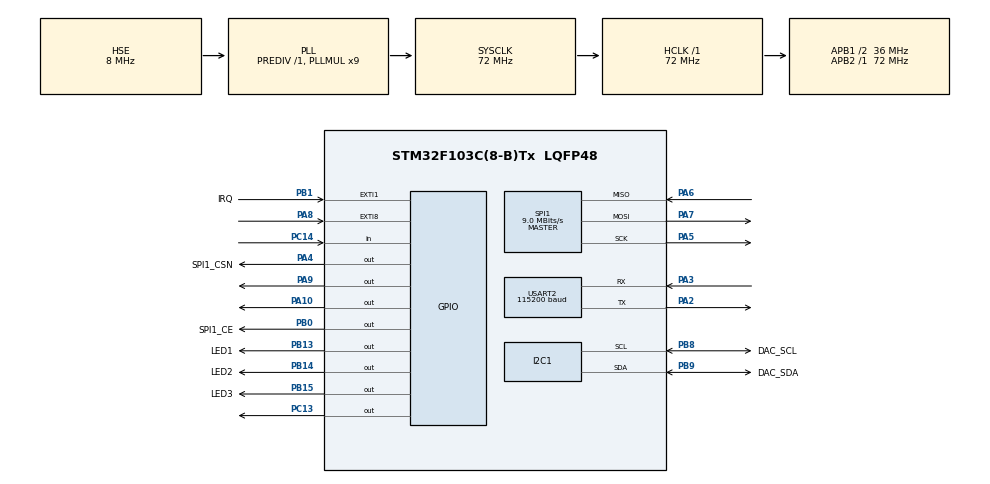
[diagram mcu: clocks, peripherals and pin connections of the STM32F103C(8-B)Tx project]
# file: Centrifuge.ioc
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I2C1.OwnAddress=0
Mcu.Family=STM32F1
Mcu.Name=STM32F103C(8-B)Tx
Mcu.Package=LQFP48
NVIC.EXTI1_IRQn=true\:0\:0\:false\:false\:true\:true\:true\:true
NVIC.EXTI9_5_IRQn=true\:0\:0\:false\:false\:true\:true\:true\:true
NVIC.I2C1_ER_IRQn=true\:0\:0\:false\:false\:true\:true\:true\:true
NVIC.I2C1_EV_IRQn=true\:0\:0\:false\:false\:true\:true\:true\:true
NVIC.PriorityGroup=NVIC_PRIORITYGROUP_4
NVIC.TIM2_IRQn=true\:0\:0\:false\:false\:true\:true\:true\:true
NVIC.USART2_IRQn=true\:0\:0\:false\:false\:true\:true\:true\:true
PA10.Signal=GPIO_Output
PA13.Mode=Serial_Wire
PA13.Signal=SYS_JTMS-SWDIO
PA14.Mode=Serial_Wire
PA14.Signal=SYS_JTCK-SWCLK
PA2.Mode=Asynchronous
PA2.Signal=USART2_TX
PA3.Mode=Asynchronous
PA3.Signal=USART2_RX
PA4.GPIO_Label=SPI1_CSN
PA4.GPIO_Speed=GPIO_SPEED_FREQ_HIGH
PA4.PinState=GPIO_PIN_SET
PA4.Signal=GPIO_Output
PA5.Mode=Full_Duplex_Master
PA5.Signal=SPI1_SCK
PA6.Mode=Full_Duplex_Master
PA6.Signal=SPI1_MISO
PA7.Mode=Full_Duplex_Master
PA7.Signal=SPI1_MOSI
PA8.GPIO_ModeDefaultEXTI=GPIO_MODE_IT_RISING_FALLING
PA8.GPIO_PuPd=GPIO_PULLDOWN
PA8.Signal=GPXTI8
PA9.Signal=GPIO_Output
PB0.GPIO_Label=SPI1_CE
PB0.GPIO_Speed=GPIO_SPEED_FREQ_HIGH
PB0.Signal=GPIO_Output
PB1.GPIO_Label=IRQ
PB1.GPIO_ModeDefaultEXTI=GPIO_MODE_IT_FALLING
PB1.Signal=GPXTI1
PB13.GPIO_Label=LED1
PB13.Signal=GPIO_Output
PB14.GPIO_Label=LED2
PB14.Signal=GPIO_Output
PB15.GPIO_Label=LED3
PB15.Signal=GPIO_Output
PB8.GPIO_Label=DAC_SCL
PB8.Mode=I2C
PB8.Signal=I2C1_SCL
PB9.GPIO_Label=DAC_SDA
PB9.Mode=I2C
PB9.Signal=I2C1_SDA
PC13-TAMPER-RTC.Signal=GPIO_Output
PC14-OSC32_IN.Signal=GPIO_Input
PD0-OSC_IN.Mode=HSE-External-Oscillator
PD0-OSC_IN.Signal=RCC_OSC_IN
PD1-OSC_OUT.Mode=HSE-External-Oscillator
PD1-OSC_OUT.Signal=RCC_OSC_OUT
ProjectManager.HeapSize=0x200
ProjectManager.StackSize=0x400
ProjectManager.TargetToolchain=STM32CubeIDE
RCC.AHBFreq_Value=72000000
RCC.APB1CLKDivider=RCC_HCLK_DIV2
RCC.APB1Freq_Value=36000000
RCC.APB1TimFreq_Value=72000000
RCC.APB2Freq_Value=72000000
RCC.APB2TimFreq_Value=72000000
RCC.HCLKFreq_Value=72000000
RCC.PLLMUL=RCC_PLL_MUL9
RCC.PLLSourceVirtual=RCC_PLLSOURCE_HSE
RCC.SYSCLKFreq_VALUE=72000000
RCC.SYSCLKSource=RCC_SYSCLKSOURCE_PLLCLK
RCC.USBFreq_Value=72000000
SPI1.BaudRatePrescaler=SPI_BAUDRATEPRESCALER_8
SPI1.CalculateBaudRate=9.0 MBits/s
SPI1.Direction=SPI_DIRECTION_2LINES
SPI1.Mode=SPI_MODE_MASTER
SPI1.VirtualType=VM_MASTER
TIM2.Period=999
TIM2.Prescaler=71
USART2.BaudRate=115200
USART2.VirtualMode=VM_ASYNC
VP_TIM2_VS_ClockSourceINT.Mode=Internal
board=custom

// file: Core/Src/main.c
/* USER CODE BEGIN Header */
/**
 ******************************************************************************
 * @file           : main.c
 * @brief          : Main program body
 ******************************************************************************
 * @attention
 *
 * Copyright (c) 2025 STMicroelectronics.
 * All rights reserved.
 *
 * This software is licensed under terms that can be found in the LICENSE file
 * in the root directory of this software component.
 * If no LICENSE file comes with this software, it is provided AS-IS.
 *
 ******************************************************************************
 */
/* USER CODE END Header */
#include "main.h"
#include "i2c.h"
#include "spi.h"
#include "tim.h"
#include "usart.h"
#include "gpio.h"

/* USER CODE BEGIN Includes */
#include <stdio.h>
#include <string.h>
#include <stdlib.h>
#include <math.h>
#include "MCP4725.h"
#include "nrf24l01p.h"
/* USER CODE END Includes */

/* USER CODE BEGIN PV */
#define MAX_POINTS 200
#define RX_BUFF_SIZE 500

#define integralCap 300
/*FF only, PID off*/
//#define kP 0
//#define kI 0
//#define kD 0

#define kP 0.05
#define kI 0.005
#define kD 0

uint8_t tx_buff[] = {0,1,2,3,4,5,6,7,8,9};
uint8_t rx_buff[RX_BUFF_SIZE] = {0};
uint8_t rx_buff_arm = 0;
uint8_t rx_data[NRF24L01P_PAYLOAD_LENGTH] = {0};
static char msg[120];

// imu datas
float accel_x = 0;
float accel_y = 0;
float accel_z = 0;
float temperature = 0;
float gyro_x = 0;
float gyro_y = 0;
float gyro_z = 0;
float current_g = 0;

float voltage_to_be_sent = 0;

// speed from motor
float avgRPM = 0;
float numPoints = 0;
volatile uint32_t counter = 0;
uint32_t previousCountMillis = 0;
const uint32_t countMillis = 100; // ms for sampling speed line
float rpm = 0;
float sum = 0;
float des_rpm = 0;
float post_gear_rpm = 0;

// PID controller
float voltage_pid = 0;
float lastError = 0;
float error = 0;
float integral = 0;
uint32_t currTime = 0;
uint32_t prevTime = 0;
uint32_t dt = 0;

// variables for PID
float current_omega = 0;

int ct = 0;
volatile uint32_t last_interrupt_time = 0;

bool braking = false;
bool dataNew = false;
volatile bool uart_ready = true;
bool inputState = false;
bool lastInputState = false;

uint8_t led = 0;
uint16_t ledTimer = 0;
uint16_t voltageSent = 0;
uint32_t time_start = 0;
uint32_t time_elapsed = 0;
uint32_t lastPrintTime = 0;
uint32_t printInterval = 100; // ms for every print

uint32_t profile_ms[MAX_POINTS] = {0};
float profile_g[MAX_POINTS] = {0};
int profile_arm = 0;

//i | idle
//p | has profile (ready)
//m | manual
//u | uploading mode (reading)
//o | on mode (running)
//e | evaluate (aka parsing)
char state = 'i';

int upload_pointer = 0;

// Live Expression Watching
int pa9_state = 0;
int pa10_state = 0;
uint16_t scaled_voltage = 0;
float slope_gps = 0;
float desired_g = 0;
float descent_no_brake = 0;
char recentChar = 'i';
/* USER CODE END PV */

void SystemClock_Config(void);
/* USER CODE BEGIN PFP */
uint8_t setValue(uint16_t value);
void HAL_GPIO_EXTI_Callback(uint16_t GPIO_Pin);
void collect_data();
void process_rx();
void check_radio_health();
/* USER CODE END PFP */

/* USER CODE BEGIN 0 */

// First, create an MCP4725 object:
MCP4725 myMCP4725;

volatile uint8_t rx_flag = 0;
/* USER CODE END 0 */

int main(void)
{

  /* MCU Configuration--------------------------------------------------------*/

  /* Reset of all peripherals, Initializes the Flash interface and the Systick. */
  HAL_Init();

  /* Configure the system clock */
  SystemClock_Config();

  /* Initialize all configured peripherals */
  MX_GPIO_Init();
  MX_USART2_UART_Init();
  MX_I2C1_Init();
  MX_SPI1_Init();
  MX_TIM2_Init();
  /* USER CODE BEGIN 2 */

	// begins listening for a byte. When byte is recieved, it calls the callback function
	HAL_UART_Receive_IT(&huart2, rx_buff, 1);

	HAL_TIM_Base_Start_IT(&htim2);
	// initialize radio
	nrf24l01p_rx_init(2500, _250kbps);

	// turn off auto acknowledgment
	uint8_t en_aa = read_register(NRF24L01P_REG_EN_AA);
	en_aa &= ~(1 << 0);
	write_register(NRF24L01P_REG_EN_AA, en_aa);

	// Second, initialize the MCP4725 object:
	myMCP4725 = MCP4725_init(&hi2c1, MCP4725A0_ADDR_A00, MCP4725_REFERENCE_VOLTAGE);

	// Check the connection:
	if(MCP4725_isConnected(&myMCP4725)){

		/* Print that the DAC is connected */
		uint8_t success_arr[] = {'D','A','C',' ','g','o','o','d','\n'};
		HAL_UART_Transmit_IT(&huart2, success_arr, 9);
	}
	else{

		/* Print that the DAC is NOT connected */
		uint8_t fail_arr[] = {'b','a','d','\n'};
		HAL_UART_Transmit_IT(&huart2, fail_arr, 4);
	}

	// default centrifuge off
	setValue(0);
	HAL_GPIO_WritePin(GPIOA, GPIO_PIN_10, GPIO_PIN_RESET); // Motor off
	HAL_GPIO_WritePin(GPIOA, GPIO_PIN_9, GPIO_PIN_RESET); //Brake on

	// set radio address
	// uint8_t radio_status = set_address("2Node");

  /* USER CODE END 2 */

  /* Infinite loop */
	while (1)
	{

    /* USER CODE BEGIN 3 */
		pa9_state = HAL_GPIO_ReadPin(GPIOA, GPIO_PIN_9); // 0 for brake on
		pa10_state = HAL_GPIO_ReadPin(GPIOA, GPIO_PIN_10); // 0 for motor off

		// initialize to 0, if still 0 after a loop that means radio is cooked
//		accel_x = 0;
//		accel_y = 0;
//		accel_z = 0;
//		gyro_x = 0;
//		gyro_y = 0;
//		gyro_z = 0;
		// rx interrupt triggered
//		if (rx_flag) {
//			process_rx();
//		}

		// check radio health every 50ms
//		static uint32_t radio_check_timer = 0;
//		radio_check_timer++;
//		if(radio_check_timer > 50) {
//			radio_check_timer = 0;
//			check_radio_health();
//		}

		currTime = HAL_GetTick();
		// pin setting is getting overriden by main due to ISR interrupting in random places
		if (state == 'i') {
			HAL_GPIO_WritePin(GPIOA, GPIO_PIN_10, GPIO_PIN_RESET); // Motor off
			HAL_GPIO_WritePin(GPIOA, GPIO_PIN_9, GPIO_PIN_RESET); //Brake on
			voltageSent = 0;
			setValue(voltageSent);
		}

		else if (state == 'm') {
			//measure voltage to rpm
			if ((HAL_GetTick() - previousCountMillis) >= countMillis) {
				previousCountMillis = HAL_GetTick();
				collect_data();
				float volts=0;
				volts = ((float)voltageSent / 4095) * 3.3;

				float omega = sqrt( (9.81 * sqrt(current_g*current_g - 1)) / 1.4);
				des_rpm = (omega /3.1415) * 30;
				post_gear_rpm = rpm / 25;
	//			// relate RPM to volts
				int len = snprintf(msg, sizeof(msg),
						"%.4f %.4f %.4f %.4f\n",
						volts, des_rpm, current_g, post_gear_rpm);
	//			// motor no brake descent rate
	////			uint8_t motor = HAL_GPIO_ReadPin(GPIOA, GPIO_PIN_10);
	////			int len = snprintf(msg, sizeof(msg),
	////					"%.2f %.2f %u\n",
	////					volts, current_g, motor);
				// Send over UART using interrupt
				HAL_UART_Transmit_IT(&huart2, (uint8_t*)msg, len);
			}
		}

//		// if imu shits itself (PID DIES)
//		if(dataNew){
//			dataNew = false;
//		}else {
//			HAL_GPIO_WritePin(GPIOA, GPIO_PIN_10, GPIO_PIN_RESET); // Motor off
//			HAL_GPIO_WritePin(GPIOA, GPIO_PIN_9, GPIO_PIN_RESET); //Brake on
//			state = 'i';
//		}

		// evaluation mode (parsing the profile)
		else if (state == 'e') {
//			dt = currTime - prevTime; // for PID
			int i = upload_pointer; // where the instruction starts in our rx_buffer
			char parseChar = *(rx_buff + i); // grab the first character our rx_buffer
			char numberBuffer[40] = {0}; // create a number buffer to atoi into our ms and g arrays
			int numberBufferArm = 0;     // keep track of the current index
			char evaluateState = 'm'; //m or g
			profile_arm = 0; // current step of the profile

			// our profile data is sandwiched between a start u and a stop u
			while(parseChar != 'u'){
				// parse the first column of the csv (ms)
				if(evaluateState == 'm'){
					// if its a number, store it into numberBuffer
					if((parseChar <= '9' && parseChar >= '0')){
					    if (numberBufferArm < 39) { // Leave room for null terminator if needed
					        numberBuffer[numberBufferArm++] = parseChar;
					    }
					}

					// if its a comma, flush it all to the ms array and switch to evaluating g
					else if(parseChar == ','){
						profile_ms[profile_arm] = atoi(numberBuffer);
						memset(numberBuffer, 0, 40);
						numberBufferArm = 0;
						evaluateState = 'g';
					}

					// parse the second column of the csv (g)
				}else if(evaluateState == 'g'){

					// if its a number, store it into numberBuffer
					if((parseChar <= '9' && parseChar >= '0') || parseChar == '.'){
						if (numberBufferArm < 39) { // Leave room for null terminator if needed
							 numberBuffer[numberBufferArm++] = parseChar;
						}
						// upon reaching a new line, flush everything in numberBuffer to g array and go back to m
					}else if(parseChar == '\n'){
						profile_g[profile_arm++] = atof(numberBuffer);
						memset(numberBuffer, 0, 40);
						numberBufferArm = 0;
						evaluateState = 'm';
					}
				}

				// increment our upload arm and make sure it wraps back to the start to grab the next char
				i++;
				i %= RX_BUFF_SIZE;
				parseChar = *(rx_buff + i);
			}

			// reset buffer for clean data
			memset(rx_buff, 0, 500);

			// reached stop "u" so switch to ready mode
			state = 'p';
		}

		// ON state (centrifuge will start spinning)
		else if(state == 'o') {
			time_elapsed = HAL_GetTick() - time_start;
			int index = 0;

			// increment the index of our profile if the elapsed time is greater than the desired runtime
			while(index < profile_arm) {
				if (profile_ms[index] <= time_elapsed) {
					index++;
				}
				else {
					break;
				}
			}

			// we've reached the end of our instructions, so turn everything off and go to idle mode
			if(index == profile_arm){
				state = 'i';
				HAL_GPIO_WritePin(GPIOA, GPIO_PIN_10, GPIO_PIN_RESET); // Motor off
				HAL_GPIO_WritePin(GPIOA, GPIO_PIN_9, GPIO_PIN_SET); //Brake off

				// run the current profile instruction step
			}else{
				float prev_desired_g = profile_g[index-1];
				float prev_desired_ms = profile_ms[index-1];
				float next_desired_g = profile_g[index];
				float next_desired_ms = profile_ms[index];

				// end case/error detection (next time should never be lower than prev)
				if (next_desired_ms < prev_desired_ms) {
					state = 'i';
					HAL_GPIO_WritePin(GPIOA, GPIO_PIN_10, GPIO_PIN_RESET); // Motor off
					HAL_GPIO_WritePin(GPIOA, GPIO_PIN_9, GPIO_PIN_RESET); //Brake on
				}

				// calculate descent slope for braking on sharp changes
				slope_gps = (next_desired_g - prev_desired_g) / ((next_desired_ms - prev_desired_ms) / 1000);
				desired_g = ((next_desired_g - prev_desired_g) * (time_elapsed - prev_desired_ms) / (next_desired_ms - prev_desired_ms)) + prev_desired_g;
				descent_no_brake = -0.312*desired_g + 0.278;

				braking = false;
				// only set braking if the slope is negative
				if (slope_gps < 0) {
					// brake when profile is too sharp (would be greater than natural descent of the motor)
					if(fabsf(slope_gps) > fabsf(descent_no_brake)) {
						braking = true;
					} else {
						braking = false;
					}
				}
				HAL_GPIO_WritePin(GPIOA, GPIO_PIN_10, GPIO_PIN_SET); // Motor on (for when it got turned off by brake mode last time)

				braking = false; // TEST INSERT TO TURN OFF BRAKE DESCENT
				// when brake mode on, brake if our desired_g is greater than our current_g
				if (braking) {
					HAL_GPIO_WritePin(GPIOA, GPIO_PIN_10, GPIO_PIN_RESET); // Motor off when in brake mode
					if (desired_g < current_g) {
						HAL_GPIO_WritePin(GPIOA, GPIO_PIN_9, GPIO_PIN_RESET); //Brake on
					}

					// let the motor coast to reduce speed instead
					else if(desired_g >= current_g) {
						HAL_GPIO_WritePin(GPIOA, GPIO_PIN_9, GPIO_PIN_SET); //Brake off
					}
					setValue(0);
				}

				// brake mode is off so use voltage to rpm equation to set speed of the centrifuge
				else {
					dt = currTime - prevTime;

					if (dt == 0) {
						dt = 1; // Safety clamp for extremely fast loop iterations
					}

					HAL_GPIO_WritePin(GPIOA, GPIO_PIN_10, GPIO_PIN_SET); // Motor on
					HAL_GPIO_WritePin(GPIOA, GPIO_PIN_9, GPIO_PIN_SET); //Brake off

					// clamp desired_g to 1
					if (desired_g < 1.0) {
					    desired_g = 1.0;
					}

					float a = 1.3; // centrifuge arm radius meters
					float L = 0.22; // hinge to imu radius meters
					float sin_theta = sqrt(desired_g * desired_g - 1.0) / desired_g;
					float r_total = a + L * sin_theta;
					float des_omega = sqrt((9.81 * sqrt(desired_g*desired_g - 1)) / r_total);
					des_rpm = (des_omega /3.1415) * 30;

					// feedforward from des_rpm
					float voltage_ff = (-0.000459) + (0.0283 * des_rpm) + (-0.000225* des_rpm * des_rpm) + (0.0000025* des_rpm * des_rpm* des_rpm);

					/* PID*/

					//clamp imu reading
					if (current_g < 1.0) {
						current_g = 1.0;
					}
					current_omega = sqrt((9.81f * sqrt((current_g * current_g) - 1.0f)) / r_total);
					float current_rpm = (current_omega / 3.1415f) * 30.0f;

					error = des_rpm - current_rpm;
					integral += (dt/1000.0f) * (error + lastError) / 2.0f;

					// cap integral in both directions
					if (integral > integralCap) {
					    integral = integralCap;
					} else if (integral < -integralCap) {
					    integral = -integralCap;
					}

					voltage_pid = kP * error + kI * integral + kD * (error - lastError) / (dt/1000.0);

					// combine pid with ff
					float voltage_to_be_sent = voltage_ff + voltage_pid;

					// vref is 3.3 but clamp to 3.0
					if (voltage_to_be_sent > 3.0f) {
					    voltage_to_be_sent = 3.0f;
					} else if (voltage_to_be_sent < 0.0f) {
					    voltage_to_be_sent = 0.0f;
					}

					scaled_voltage = (uint16_t)((voltage_to_be_sent / 3.3f) * 4095); // scale the voltage from 0-3.3 to 0-4095 to be sent though the DAC
					setValue(scaled_voltage);

				    lastError = error;
				    prevTime = currTime;
				}

				if (HAL_GetTick() - lastPrintTime >= printInterval) {
				    lastPrintTime = HAL_GetTick();
//				    uint8_t BRAKE = HAL_GPIO_ReadPin(GPIOA, GPIO_PIN_9);
//				    uint8_t MOTOR = HAL_GPIO_ReadPin(GPIOA, GPIO_PIN_10);
				    memset(msg, 0, sizeof(msg));  // clear garbage from buffer
//				    int len = snprintf(msg, sizeof(msg),
//				    		"Accel [g]: X=%.2f, Y=%.2f, Z=%.2f | "
//				    		"Gyro [°/s]: X=%.2f, Y=%.2f, Z=%.2f | "
//				    		"Temp=%.2f°C | g=%.2f\n",
//							accel_x, accel_y, accel_z,
//							gyro_x, gyro_y, gyro_z,
//							temperature, current_g);
				    collect_data(); // THIS ONLY WORKS AT 100ms I THINK
				    post_gear_rpm = rpm / 25;
				    int len = snprintf(msg, sizeof(msg),
				    		"%lu %.2f %.2f %.2f %.2f\n",
							time_elapsed, desired_g, current_g, post_gear_rpm, current_omega);
				    HAL_UART_Transmit_IT(&huart2, (uint8_t*)msg, len);
				}
			}
		}

		// LED loop to check board status
		ledTimer ++;
		if(ledTimer > 200){
			ledTimer = 0;
			led = !led;
			if(led){
				HAL_GPIO_WritePin(GPIOC, GPIO_PIN_13, GPIO_PIN_SET);
				HAL_GPIO_WritePin(GPIOB, GPIO_PIN_13, GPIO_PIN_SET);
				HAL_GPIO_WritePin(GPIOB, GPIO_PIN_15, GPIO_PIN_SET);
			}else{
				HAL_GPIO_WritePin(GPIOC, GPIO_PIN_13, GPIO_PIN_RESET);
				HAL_GPIO_WritePin(GPIOB, GPIO_PIN_13, GPIO_PIN_RESET);
				HAL_GPIO_WritePin(GPIOB, GPIO_PIN_15, GPIO_PIN_RESET);
			}
		}
		HAL_Delay(1);
	}
  /* USER CODE END 3 */
}

void SystemClock_Config(void)
{
  RCC_OscInitTypeDef RCC_OscInitStruct = {0};
  RCC_ClkInitTypeDef RCC_ClkInitStruct = {0};

  /** Initializes the RCC Oscillators according to the specified parameters
  * in the RCC_OscInitTypeDef structure.
  */
  RCC_OscInitStruct.OscillatorType = RCC_OSCILLATORTYPE_HSE;
  RCC_OscInitStruct.HSEState = RCC_HSE_ON;
  RCC_OscInitStruct.HSEPredivValue = RCC_HSE_PREDIV_DIV1;
  RCC_OscInitStruct.HSIState = RCC_HSI_ON;
  RCC_OscInitStruct.PLL.PLLState = RCC_PLL_ON;
  RCC_OscInitStruct.PLL.PLLSource = RCC_PLLSOURCE_HSE;
  RCC_OscInitStruct.PLL.PLLMUL = RCC_PLL_MUL9;
  if (HAL_RCC_OscConfig(&RCC_OscInitStruct) != HAL_OK)
  {
    Error_Handler();
  }

  /** Initializes the CPU, AHB and APB buses clocks
  */
  RCC_ClkInitStruct.ClockType = RCC_CLOCKTYPE_HCLK|RCC_CLOCKTYPE_SYSCLK
                              |RCC_CLOCKTYPE_PCLK1|RCC_CLOCKTYPE_PCLK2;
  RCC_ClkInitStruct.SYSCLKSource = RCC_SYSCLKSOURCE_PLLCLK;
  RCC_ClkInitStruct.AHBCLKDivider = RCC_SYSCLK_DIV1;
  RCC_ClkInitStruct.APB1CLKDivider = RCC_HCLK_DIV2;
  RCC_ClkInitStruct.APB2CLKDivider = RCC_HCLK_DIV1;

  if (HAL_RCC_ClockConfig(&RCC_ClkInitStruct, FLASH_LATENCY_2) != HAL_OK)
  {
    Error_Handler();
  }
}

/* USER CODE BEGIN 4 */

// For serial monitor
void HAL_UART_RxCpltCallback(UART_HandleTypeDef *huart){
	recentChar = *(rx_buff + rx_buff_arm); // the most recent character that has not been read yet

	/** fsm for the centrifuge:
	-------------------------------
	 i | idle
	 p | has profile (ready)
	 m | manual
	 u | uploading mode (reading)
	 o | on mode (running)
	 e | evaluate (aka parsing in main) **/

	switch (state){
	case 'i':
		HAL_GPIO_WritePin(GPIOA, GPIO_PIN_10, GPIO_PIN_RESET); // Motor off
		HAL_GPIO_WritePin(GPIOA, GPIO_PIN_9, GPIO_PIN_RESET); //Brake on
		voltageSent = 0;
		setValue(voltageSent);
		state = 'i';
		// go to upload mode
		if(recentChar == 'u'){
			upload_pointer = (rx_buff_arm + 1) % RX_BUFF_SIZE;
			state = 'u';
		}
		// go to manual mode
		else if(recentChar == 'm') {
			state = 'm';
		}
		break;

	case 'm':
		//accept commands from a serial monitor to control the centrifuge
		if(recentChar <= '9' && recentChar >= '0'){
			voltageSent = (uint16_t)((int)(recentChar - '0') / 9.0 * 4095); // 4095 //1400 to get the weird thing at level 7
			setValue(voltageSent);
		}else if(recentChar == 'C') { // Motor on Brake off
			HAL_GPIO_WritePin(GPIOA, GPIO_PIN_10, GPIO_PIN_SET); // Motor on
			HAL_GPIO_WritePin(GPIOA, GPIO_PIN_9, GPIO_PIN_SET); //Brake off
		}else if(recentChar == 'c') { // Motor off Brake off
			HAL_GPIO_WritePin(GPIOA, GPIO_PIN_10, GPIO_PIN_RESET); // Motor off
			HAL_GPIO_WritePin(GPIOA, GPIO_PIN_9, GPIO_PIN_SET); //Brake off
		}else if(recentChar == 'b') { // Motor off Brake on
			HAL_GPIO_WritePin(GPIOA, GPIO_PIN_10, GPIO_PIN_RESET); // Motor off
			HAL_GPIO_WritePin(GPIOA, GPIO_PIN_9, GPIO_PIN_RESET); //Brake on
		}
		// go to idle mode
		else if(recentChar == 'm') {
			HAL_GPIO_WritePin(GPIOA, GPIO_PIN_10, GPIO_PIN_RESET); // Motor off
			HAL_GPIO_WritePin(GPIOA, GPIO_PIN_9, GPIO_PIN_RESET); //Brake on
			voltageSent = 0;
			setValue(voltageSent);
			state = 'i';
		}
		break;

	case 'p':
		// go to ON mode
		if (recentChar == 'o'){
			time_start = HAL_GetTick();
			prevTime = time_start; // Prime the PID timer before it starts
			HAL_GPIO_WritePin(GPIOA, GPIO_PIN_10, GPIO_PIN_SET); // Motor on
			HAL_GPIO_WritePin(GPIOA, GPIO_PIN_9, GPIO_PIN_SET); //Brake off
			state = 'o';
		}
		// go to upload mode
		else if(recentChar == 'u') {
			upload_pointer =  (rx_buff_arm + 1) % RX_BUFF_SIZE;
			state = 'u';
		}
		// go to manual mode
		else if(recentChar == 'm') {
			state = 'm';
		}
		break;

	case 'u':
		// go to evaluation mode
		if(recentChar == 'u'){
			state = 'e';
		}
		break;

	case 'o':
		// go to idle mode
		if(recentChar == 'q') {
			voltageSent = 0;
			setValue(voltageSent);
			state = 'i';
		}
		break;

	default:
		HAL_GPIO_WritePin(GPIOA, GPIO_PIN_10, GPIO_PIN_RESET); // Motor off
		HAL_GPIO_WritePin(GPIOA, GPIO_PIN_9, GPIO_PIN_RESET); //Brake on
		voltageSent = 0;
		setValue(voltageSent);
		state = 'i';
	}

	// move to next index in the circular buffer to be read
	rx_buff_arm ++;

	// make sure we stay within the buffer
	if(rx_buff_arm >= RX_BUFF_SIZE){
		rx_buff_arm = 0;
	}

	// flush our command history through UART
	//	HAL_UART_Transmit_IT(&huart2, rx_buff, RX_BUFF_SIZE);

	//	uint8_t char_arr[1] = {recentChar};
	//	HAL_UART_Transmit_IT(&huart2, char_arr, 1);

	if (recentChar == 'x') {
	    avgRPM = 0;
	    numPoints = 0;
	}

	// necessary to prime the next callback
	HAL_UART_Receive_IT(&huart2, rx_buff + rx_buff_arm, 1); // the next character will be stored in the next index
}

// for DAC
uint8_t setValue(uint16_t value){
	return MCP4725_setValue(&myMCP4725, value, MCP4725_FAST_MODE, MCP4725_POWER_DOWN_OFF);
}

// for radio recieve
void HAL_GPIO_EXTI_Callback(uint16_t GPIO_Pin)
{
	if(GPIO_Pin == NRF24L01P_IRQ_PIN_NUMBER) {
//		uint8_t status = read_register(NRF24L01P_REG_STATUS);
//		uint8_t fifo_status = read_register(NRF24L01P_REG_FIFO_STATUS);

		nrf24l01p_rx_receive(rx_data);

//		// flush if RX_FIFO somehow full
//		if (fifo_status & 0x10) {
//			nrf24l01p_flush_rx_fifo();
//		}
//
//		// clear RX_DR for this payload
//		write_register(NRF24L01P_REG_STATUS, 0x40);

		accel_x = (int16_t)(rx_data[0] | (rx_data[1] << 8)) / 2048.f;
		accel_y = (int16_t)(rx_data[2] | (rx_data[3] << 8)) / 2048.f;
		accel_z = (int16_t)(rx_data[4] | (rx_data[5] << 8)) / 2048.f;
		temperature = (float)((int16_t)(rx_data[6] | (rx_data[7] << 8))) / 340 + 36.53;
		gyro_x = (int16_t)(rx_data[8] | (rx_data[9] << 8)) / 65.5f;
		gyro_y = (int16_t)(rx_data[10] | (rx_data[11] << 8)) / 65.5f;
		gyro_z = (int16_t)(rx_data[12] | (rx_data[13] << 8)) / 65.5f;

		accel_x -= 0.03;
		accel_y += 0.01;
		accel_z -= 0.03;
		gyro_x += 4.7;
		gyro_y -= 1.9;
		gyro_z += 0.5;

		current_g = sqrt((accel_x*accel_x) + (accel_y*accel_y) + (accel_z*accel_z));

	}
}

// grabs data from the motor and averages it
void collect_data() {
	rpm = (counter * 20 *(500/countMillis)) / 4.0;
	sum = avgRPM * numPoints;
	sum += rpm;
	numPoints++;
	avgRPM = sum/numPoints;

	// reset count for next sample
	counter = 0;
}

void process_rx() {
	uint8_t status = read_register(NRF24L01P_REG_STATUS);
	uint8_t fifo_status = read_register(NRF24L01P_REG_FIFO_STATUS);

	// if RX_DR (new data) is set or FIFO has data
	if ((status & 0x40) || !(fifo_status & 0x01)) {
		// while RX FIFO not empty
		while(!(fifo_status & 0x01)) {
			nrf24l01p_rx_receive(rx_data);

			accel_x = (int16_t)(rx_data[0] | (rx_data[1] << 8)) / 2048.f;
			accel_y = (int16_t)(rx_data[2] | (rx_data[3] << 8)) / 2048.f;
			accel_z = (int16_t)(rx_data[4] | (rx_data[5] << 8)) / 2048.f;
			temperature = (float)((int16_t)(rx_data[6] | (rx_data[7] << 8))) / 340 + 36.53;
			gyro_x = (int16_t)(rx_data[8] | (rx_data[9] << 8)) / 65.5f;
			gyro_y = (int16_t)(rx_data[10] | (rx_data[11] << 8)) / 65.5f;
			gyro_z = (int16_t)(rx_data[12] | (rx_data[13] << 8)) / 65.5f;

			accel_x -= 0.03;
			accel_y += 0.01;
			accel_z -= 0.03;
			gyro_x += 4.7;
			gyro_y -= 1.9;
			gyro_z += 0.5;

			current_g = sqrt((accel_x*accel_x) + (accel_y*accel_y) + (accel_z*accel_z));

//			char buf[200];  // adjust size if needed
//			snprintf(buf, sizeof(buf),
//			         "Accel [g]: X=%.2f, Y=%.2f, Z=%.2f | "
//			         "Gyro [°/s]: X=%.2f, Y=%.2f, Z=%.2f | "
//			         "Temp=%.2f°C | g=%.2f\n",
//			         accel_x, accel_y, accel_z,
//			         gyro_x, gyro_y, gyro_z,
//			         temperature, current_g);
//			HAL_UART_Transmit(&huart2, (uint8_t*)buf, strlen(buf), HAL_MAX_DELAY);

			dataNew = true;

			// clear RX_DR for this payload
			write_register(NRF24L01P_REG_STATUS, 0x40);

			// update fifo_status
			fifo_status = read_register(NRF24L01P_REG_FIFO_STATUS);
		}
	}

	// extra safety if RX FIFO somehow stuck full, flush it
	if (fifo_status & 0x10) {
		nrf24l01p_flush_rx_fifo();
	}

	rx_flag = 0; // processed all pending requests

}

void check_radio_health(){
	uint8_t rf_ch = read_register(NRF24L01P_REG_RF_CH);
	uint8_t status = read_register(NRF24L01P_REG_STATUS);

	// if channel changed, SPI locked, or STATUS invalid
	if (rf_ch != 0x64 || status == 0xFF || status == 0x00) {
		nrf24l01p_rx_init(2500, _250kbps);

		uint8_t en_aa = read_register(NRF24L01P_REG_EN_AA);
		en_aa &= ~(1 << 0);
		write_register(NRF24L01P_REG_EN_AA, en_aa);
	}
}

void HAL_TIM_PeriodElapsedCallback(TIM_HandleTypeDef *htim)
{
    if (htim->Instance == TIM2)   // check that it was TIM2
    {
        // Your 1ms code here
        inputState = HAL_GPIO_ReadPin(GPIOC, GPIO_PIN_14);

        if (inputState != lastInputState) {
            counter++;
            lastInputState = inputState;
        }
    }
}

/* USER CODE END 4 */

void Error_Handler(void)
{
	__disable_irq();
	while (1)
	{
	}
}
